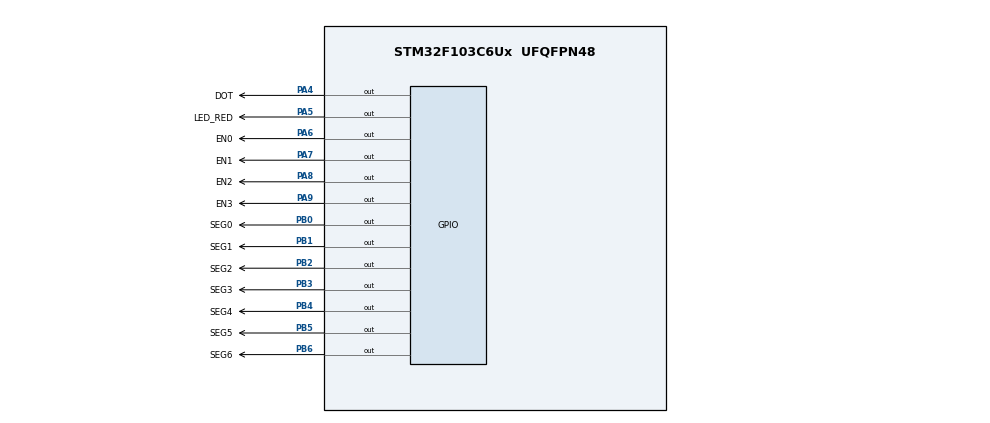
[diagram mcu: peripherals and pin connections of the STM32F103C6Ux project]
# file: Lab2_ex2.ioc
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Mcu.Family=STM32F1
Mcu.Name=STM32F103C6Ux
Mcu.Package=UFQFPN48
NVIC.PriorityGroup=NVIC_PRIORITYGROUP_4
NVIC.TIM2_IRQn=true\:0\:0\:false\:false\:true\:true\:true
PA4.GPIO_Label=DOT
PA4.Signal=GPIO_Output
PA5.GPIO_Label=LED_RED
PA5.Signal=GPIO_Output
PA6.GPIO_Label=EN0
PA6.Signal=GPIO_Output
PA7.GPIO_Label=EN1
PA7.Signal=GPIO_Output
PA8.GPIO_Label=EN2
PA8.Signal=GPIO_Output
PA9.GPIO_Label=EN3
PA9.Signal=GPIO_Output
PB0.GPIO_Label=SEG0
PB0.Signal=GPIO_Output
PB1.GPIO_Label=SEG1
PB1.Signal=GPIO_Output
PB2.GPIO_Label=SEG2
PB2.Signal=GPIO_Output
PB3.GPIO_Label=SEG3
PB3.Signal=GPIO_Output
PB4.GPIO_Label=SEG4
PB4.Signal=GPIO_Output
PB5.GPIO_Label=SEG5
PB5.Signal=GPIO_Output
PB6.GPIO_Label=SEG6
PB6.Signal=GPIO_Output
ProjectManager.HeapSize=0x200
ProjectManager.StackSize=0x400
ProjectManager.TargetToolchain=STM32CubeIDE
RCC.APB1Freq_Value=8000000
RCC.APB2Freq_Value=8000000
TIM2.Period=9
TIM2.Prescaler=7999
VP_SYS_VS_ND.Mode=No_Debug
VP_TIM2_VS_ClockSourceINT.Mode=Internal
board=custom

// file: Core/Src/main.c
/* USER CODE BEGIN Header */
/**
  ******************************************************************************
  * @file           : main.c
  * @brief          : Main program body
  ******************************************************************************
  * @attention
  *
  * <h2><center>&copy; Copyright (c) 2023 STMicroelectronics.
  * All rights reserved.</center></h2>
  *
  * This software component is licensed by ST under BSD 3-Clause license,
  * the "License"; You may not use this file except in compliance with the
  * License. You may obtain a copy of the License at:
  *                        opensource.org/licenses/BSD-3-Clause
  *
  ******************************************************************************
  */
/* USER CODE END Header */
#include "main.h"

TIM_HandleTypeDef htim2;

void SystemClock_Config(void);
static void MX_GPIO_Init(void);
static void MX_TIM2_Init(void);

/* USER CODE BEGIN 0 */
enum LED_ENABLE_STATE {
	LED_0_EN = 0,
	LED_1_EN = 1,
	LED_2_EN = 2,
	LED_3_EN = 3
};
enum LED_ENABLE_STATE curLedState = LED_0_EN;
void display7SEG(int num) {
	switch(num) {
		case 0:
			HAL_GPIO_WritePin(SEG0_GPIO_Port, SEG0_Pin, 0);
			HAL_GPIO_WritePin(SEG1_GPIO_Port, SEG1_Pin, 0);
			HAL_GPIO_WritePin(SEG2_GPIO_Port, SEG2_Pin, 0);
			HAL_GPIO_WritePin(SEG3_GPIO_Port, SEG3_Pin, 0);
			HAL_GPIO_WritePin(SEG4_GPIO_Port, SEG4_Pin, 0);
			HAL_GPIO_WritePin(SEG5_GPIO_Port, SEG5_Pin, 0);
			HAL_GPIO_WritePin(SEG6_GPIO_Port, SEG6_Pin, 1);
			break;
		case 1:
			HAL_GPIO_WritePin(SEG0_GPIO_Port, SEG0_Pin, 1);
			HAL_GPIO_WritePin(SEG1_GPIO_Port, SEG1_Pin, 0);
			HAL_GPIO_WritePin(SEG2_GPIO_Port, SEG2_Pin, 0);
			HAL_GPIO_WritePin(SEG3_GPIO_Port, SEG3_Pin, 1);
			HAL_GPIO_WritePin(SEG4_GPIO_Port, SEG4_Pin, 1);
			HAL_GPIO_WritePin(SEG5_GPIO_Port, SEG5_Pin, 1);
			HAL_GPIO_WritePin(SEG6_GPIO_Port, SEG6_Pin, 1);
			break;
		case 2:
			HAL_GPIO_WritePin(SEG0_GPIO_Port, SEG0_Pin, 0);
			HAL_GPIO_WritePin(SEG1_GPIO_Port, SEG1_Pin, 0);
			HAL_GPIO_WritePin(SEG2_GPIO_Port, SEG2_Pin, 1);
			HAL_GPIO_WritePin(SEG3_GPIO_Port, SEG3_Pin, 0);
			HAL_GPIO_WritePin(SEG4_GPIO_Port, SEG4_Pin, 0);
			HAL_GPIO_WritePin(SEG5_GPIO_Port, SEG5_Pin, 1);
			HAL_GPIO_WritePin(SEG6_GPIO_Port, SEG6_Pin, 0);
			break;
		case 3:
			HAL_GPIO_WritePin(SEG0_GPIO_Port, SEG0_Pin, 0);
			HAL_GPIO_WritePin(SEG1_GPIO_Port, SEG1_Pin, 0);
			HAL_GPIO_WritePin(SEG2_GPIO_Port, SEG2_Pin, 0);
			HAL_GPIO_WritePin(SEG3_GPIO_Port, SEG3_Pin, 0);
			HAL_GPIO_WritePin(SEG4_GPIO_Port, SEG4_Pin, 1);
			HAL_GPIO_WritePin(SEG5_GPIO_Port, SEG5_Pin, 1);
			HAL_GPIO_WritePin(SEG6_GPIO_Port, SEG6_Pin, 0);
			break;
		case 4:
			HAL_GPIO_WritePin(SEG0_GPIO_Port, SEG0_Pin, 1);
			HAL_GPIO_WritePin(SEG1_GPIO_Port, SEG1_Pin, 0);
			HAL_GPIO_WritePin(SEG2_GPIO_Port, SEG2_Pin, 0);
			HAL_GPIO_WritePin(SEG3_GPIO_Port, SEG3_Pin, 1);
			HAL_GPIO_WritePin(SEG4_GPIO_Port, SEG4_Pin, 1);
			HAL_GPIO_WritePin(SEG5_GPIO_Port, SEG5_Pin, 0);
			HAL_GPIO_WritePin(SEG6_GPIO_Port, SEG6_Pin, 0);
			break;
		case 5:
			HAL_GPIO_WritePin(SEG0_GPIO_Port, SEG0_Pin, 0);
			HAL_GPIO_WritePin(SEG1_GPIO_Port, SEG1_Pin, 1);
			HAL_GPIO_WritePin(SEG2_GPIO_Port, SEG2_Pin, 0);
			HAL_GPIO_WritePin(SEG3_GPIO_Port, SEG3_Pin, 0);
			HAL_GPIO_WritePin(SEG4_GPIO_Port, SEG4_Pin, 1);
			HAL_GPIO_WritePin(SEG5_GPIO_Port, SEG5_Pin, 0);
			HAL_GPIO_WritePin(SEG6_GPIO_Port, SEG6_Pin, 0);
			break;
		case 6:
			HAL_GPIO_WritePin(SEG0_GPIO_Port, SEG0_Pin, 0);
			HAL_GPIO_WritePin(SEG1_GPIO_Port, SEG1_Pin, 1);
			HAL_GPIO_WritePin(SEG2_GPIO_Port, SEG2_Pin, 0);
			HAL_GPIO_WritePin(SEG3_GPIO_Port, SEG3_Pin, 0);
			HAL_GPIO_WritePin(SEG4_GPIO_Port, SEG4_Pin, 0);
			HAL_GPIO_WritePin(SEG5_GPIO_Port, SEG5_Pin, 0);
			HAL_GPIO_WritePin(SEG6_GPIO_Port, SEG6_Pin, 0);
			break;
		case 7:
			HAL_GPIO_WritePin(SEG0_GPIO_Port, SEG0_Pin, 0);
			HAL_GPIO_WritePin(SEG1_GPIO_Port, SEG1_Pin, 0);
			HAL_GPIO_WritePin(SEG2_GPIO_Port, SEG2_Pin, 0);
			HAL_GPIO_WritePin(SEG3_GPIO_Port, SEG3_Pin, 1);
			HAL_GPIO_WritePin(SEG4_GPIO_Port, SEG4_Pin, 1);
			HAL_GPIO_WritePin(SEG5_GPIO_Port, SEG5_Pin, 1);
			HAL_GPIO_WritePin(SEG6_GPIO_Port, SEG6_Pin, 1);
			break;
		case 8:
			HAL_GPIO_WritePin(SEG0_GPIO_Port, SEG0_Pin, 0);
			HAL_GPIO_WritePin(SEG1_GPIO_Port, SEG1_Pin, 0);
			HAL_GPIO_WritePin(SEG2_GPIO_Port, SEG2_Pin, 0);
			HAL_GPIO_WritePin(SEG3_GPIO_Port, SEG3_Pin, 0);
			HAL_GPIO_WritePin(SEG4_GPIO_Port, SEG4_Pin, 0);
			HAL_GPIO_WritePin(SEG5_GPIO_Port, SEG5_Pin, 0);
			HAL_GPIO_WritePin(SEG6_GPIO_Port, SEG6_Pin, 0);
			break;
		case 9:
			HAL_GPIO_WritePin(SEG0_GPIO_Port, SEG0_Pin, 0);
			HAL_GPIO_WritePin(SEG1_GPIO_Port, SEG1_Pin, 0);
			HAL_GPIO_WritePin(SEG2_GPIO_Port, SEG2_Pin, 0);
			HAL_GPIO_WritePin(SEG3_GPIO_Port, SEG3_Pin, 0);
			HAL_GPIO_WritePin(SEG4_GPIO_Port, SEG4_Pin, 1);
			HAL_GPIO_WritePin(SEG5_GPIO_Port, SEG5_Pin, 0);
			HAL_GPIO_WritePin(SEG6_GPIO_Port, SEG6_Pin, 0);
			break;
		default:
			HAL_GPIO_WritePin(SEG0_GPIO_Port, SEG0_Pin, 0);
			HAL_GPIO_WritePin(SEG1_GPIO_Port, SEG1_Pin, 0);
			HAL_GPIO_WritePin(SEG2_GPIO_Port, SEG2_Pin, 0);
			HAL_GPIO_WritePin(SEG3_GPIO_Port, SEG3_Pin, 0);
			HAL_GPIO_WritePin(SEG4_GPIO_Port, SEG4_Pin, 0);
			HAL_GPIO_WritePin(SEG5_GPIO_Port, SEG5_Pin, 0);
			HAL_GPIO_WritePin(SEG6_GPIO_Port, SEG6_Pin, 0);
			break;

	}
}
/* USER CODE END 0 */

int main(void)
{

  /* MCU Configuration--------------------------------------------------------*/

  /* Reset of all peripherals, Initializes the Flash interface and the Systick. */
  HAL_Init();

  /* Configure the system clock */
  SystemClock_Config();

  /* Initialize all configured peripherals */
  MX_GPIO_Init();
  MX_TIM2_Init();
  /* USER CODE BEGIN 2 */
  HAL_TIM_Base_Start_IT(&htim2);
  /* USER CODE END 2 */

  /* Infinite loop */
  while (1)
  {
	  int _1stNum = 0;
	  int _2ndNum = 2;
	  int _3rdNum = 0;
	  int _4thNum = 7;
	  switch(curLedState) {
	  	  case LED_0_EN:
	  		  HAL_GPIO_WritePin(EN3_GPIO_Port, EN3_Pin, 1);
	  		  display7SEG(_1stNum);
	  		  HAL_GPIO_WritePin(EN0_GPIO_Port, EN0_Pin, 0);
	  		  HAL_GPIO_WritePin(EN1_GPIO_Port, EN1_Pin, 1);
	  		  HAL_GPIO_WritePin(EN2_GPIO_Port, EN2_Pin, 1);
	  		  HAL_GPIO_WritePin(LED_RED_GPIO_Port, LED_RED_Pin, 0); // Light
	  		  HAL_GPIO_WritePin(DOT_GPIO_Port, DOT_Pin, 0); // Light
	  		  break;
	  	  case LED_1_EN:
	  		  HAL_GPIO_WritePin(EN0_GPIO_Port, EN0_Pin, 1);
	  		  display7SEG(_2ndNum);
	  		  HAL_GPIO_WritePin(EN1_GPIO_Port, EN1_Pin, 0);
	  		  HAL_GPIO_WritePin(EN2_GPIO_Port, EN2_Pin, 1);
	  		  HAL_GPIO_WritePin(EN3_GPIO_Port, EN3_Pin, 1);
	  		  HAL_GPIO_WritePin(LED_RED_GPIO_Port, LED_RED_Pin, 1); // Light
	  		  HAL_GPIO_WritePin(DOT_GPIO_Port, DOT_Pin, 1); // Light
	  		  break;
	  	  case LED_2_EN:
	  		  HAL_GPIO_WritePin(EN0_GPIO_Port, EN0_Pin, 1);
	  		  HAL_GPIO_WritePin(EN1_GPIO_Port, EN1_Pin, 1);
	  		  display7SEG(_3rdNum);
	  		  HAL_GPIO_WritePin(EN2_GPIO_Port, EN2_Pin, 0);
	  		  HAL_GPIO_WritePin(EN3_GPIO_Port, EN3_Pin, 1);
	  		  HAL_GPIO_WritePin(LED_RED_GPIO_Port, LED_RED_Pin, 0); // Light
	  		  HAL_GPIO_WritePin(DOT_GPIO_Port, DOT_Pin, 0); // Light
	  		  break;
	  	  case LED_3_EN:
	  		  HAL_GPIO_WritePin(EN0_GPIO_Port, EN0_Pin, 1);
	  		  HAL_GPIO_WritePin(EN1_GPIO_Port, EN1_Pin, 1);
	  		  HAL_GPIO_WritePin(EN2_GPIO_Port, EN2_Pin, 1);
	  		  display7SEG(_4thNum);
	  		  HAL_GPIO_WritePin(EN3_GPIO_Port, EN3_Pin, 0);
	  		  HAL_GPIO_WritePin(LED_RED_GPIO_Port, LED_RED_Pin, 1); // Light
	  		  HAL_GPIO_WritePin(DOT_GPIO_Port, DOT_Pin, 1); // Light
	  		  break;
	  	  }
  }
}

void SystemClock_Config(void)
{
  RCC_OscInitTypeDef RCC_OscInitStruct = {0};
  RCC_ClkInitTypeDef RCC_ClkInitStruct = {0};

  /** Initializes the RCC Oscillators according to the specified parameters
  * in the RCC_OscInitTypeDef structure.
  */
  RCC_OscInitStruct.OscillatorType = RCC_OSCILLATORTYPE_HSI;
  RCC_OscInitStruct.HSIState = RCC_HSI_ON;
  RCC_OscInitStruct.HSICalibrationValue = RCC_HSICALIBRATION_DEFAULT;
  RCC_OscInitStruct.PLL.PLLState = RCC_PLL_NONE;
  if (HAL_RCC_OscConfig(&RCC_OscInitStruct) != HAL_OK)
  {
    Error_Handler();
  }
  /** Initializes the CPU, AHB and APB buses clocks
  */
  RCC_ClkInitStruct.ClockType = RCC_CLOCKTYPE_HCLK|RCC_CLOCKTYPE_SYSCLK
                              |RCC_CLOCKTYPE_PCLK1|RCC_CLOCKTYPE_PCLK2;
  RCC_ClkInitStruct.SYSCLKSource = RCC_SYSCLKSOURCE_HSI;
  RCC_ClkInitStruct.AHBCLKDivider = RCC_SYSCLK_DIV1;
  RCC_ClkInitStruct.APB1CLKDivider = RCC_HCLK_DIV1;
  RCC_ClkInitStruct.APB2CLKDivider = RCC_HCLK_DIV1;

  if (HAL_RCC_ClockConfig(&RCC_ClkInitStruct, FLASH_LATENCY_0) != HAL_OK)
  {
    Error_Handler();
  }
}

static void MX_TIM2_Init(void)
{

  TIM_ClockConfigTypeDef sClockSourceConfig = {0};
  TIM_MasterConfigTypeDef sMasterConfig = {0};

  htim2.Instance = TIM2;
  htim2.Init.Prescaler = 7999;
  htim2.Init.CounterMode = TIM_COUNTERMODE_UP;
  htim2.Init.Period = 9;
  htim2.Init.ClockDivision = TIM_CLOCKDIVISION_DIV1;
  htim2.Init.AutoReloadPreload = TIM_AUTORELOAD_PRELOAD_DISABLE;
  if (HAL_TIM_Base_Init(&htim2) != HAL_OK)
  {
    Error_Handler();
  }
  sClockSourceConfig.ClockSource = TIM_CLOCKSOURCE_INTERNAL;
  if (HAL_TIM_ConfigClockSource(&htim2, &sClockSourceConfig) != HAL_OK)
  {
    Error_Handler();
  }
  sMasterConfig.MasterOutputTrigger = TIM_TRGO_RESET;
  sMasterConfig.MasterSlaveMode = TIM_MASTERSLAVEMODE_DISABLE;
  if (HAL_TIMEx_MasterConfigSynchronization(&htim2, &sMasterConfig) != HAL_OK)
  {
    Error_Handler();
  }

}

static void MX_GPIO_Init(void)
{
  GPIO_InitTypeDef GPIO_InitStruct = {0};

  /* GPIO Ports Clock Enable */
  __HAL_RCC_GPIOA_CLK_ENABLE();
  __HAL_RCC_GPIOB_CLK_ENABLE();

  /*Configure GPIO pin Output Level */
  HAL_GPIO_WritePin(GPIOA, DOT_Pin|LED_RED_Pin|EN0_Pin|EN1_Pin
                          |EN2_Pin|EN3_Pin, GPIO_PIN_RESET);

  /*Configure GPIO pin Output Level */
  HAL_GPIO_WritePin(GPIOB, SEG0_Pin|SEG1_Pin|SEG2_Pin|SEG3_Pin
                          |SEG4_Pin|SEG5_Pin|SEG6_Pin, GPIO_PIN_RESET);

  /*Configure GPIO pins : DOT_Pin LED_RED_Pin EN0_Pin EN1_Pin
                           EN2_Pin EN3_Pin */
  GPIO_InitStruct.Pin = DOT_Pin|LED_RED_Pin|EN0_Pin|EN1_Pin
                          |EN2_Pin|EN3_Pin;
  GPIO_InitStruct.Mode = GPIO_MODE_OUTPUT_PP;
  GPIO_InitStruct.Pull = GPIO_NOPULL;
  GPIO_InitStruct.Speed = GPIO_SPEED_FREQ_LOW;
  HAL_GPIO_Init(GPIOA, &GPIO_InitStruct);

  /*Configure GPIO pins : SEG0_Pin SEG1_Pin SEG2_Pin SEG3_Pin
                           SEG4_Pin SEG5_Pin SEG6_Pin */
  GPIO_InitStruct.Pin = SEG0_Pin|SEG1_Pin|SEG2_Pin|SEG3_Pin
                          |SEG4_Pin|SEG5_Pin|SEG6_Pin;
  GPIO_InitStruct.Mode = GPIO_MODE_OUTPUT_PP;
  GPIO_InitStruct.Pull = GPIO_NOPULL;
  GPIO_InitStruct.Speed = GPIO_SPEED_FREQ_LOW;
  HAL_GPIO_Init(GPIOB, &GPIO_InitStruct);

}

/* USER CODE BEGIN 4 */
int counter = 50;
void HAL_TIM_PeriodElapsedCallback(TIM_HandleTypeDef *htim){
	counter--;
	if(counter <= 0) {
		counter = 50;
		curLedState = (curLedState == 3) ? LED_0_EN : curLedState + 1;
	}
}
/* USER CODE END 4 */

void Error_Handler(void)
{
  __disable_irq();
  while (1)
  {
  }
}

/************************ (C) COPYRIGHT STMicroelectronics *****END OF FILE****/
